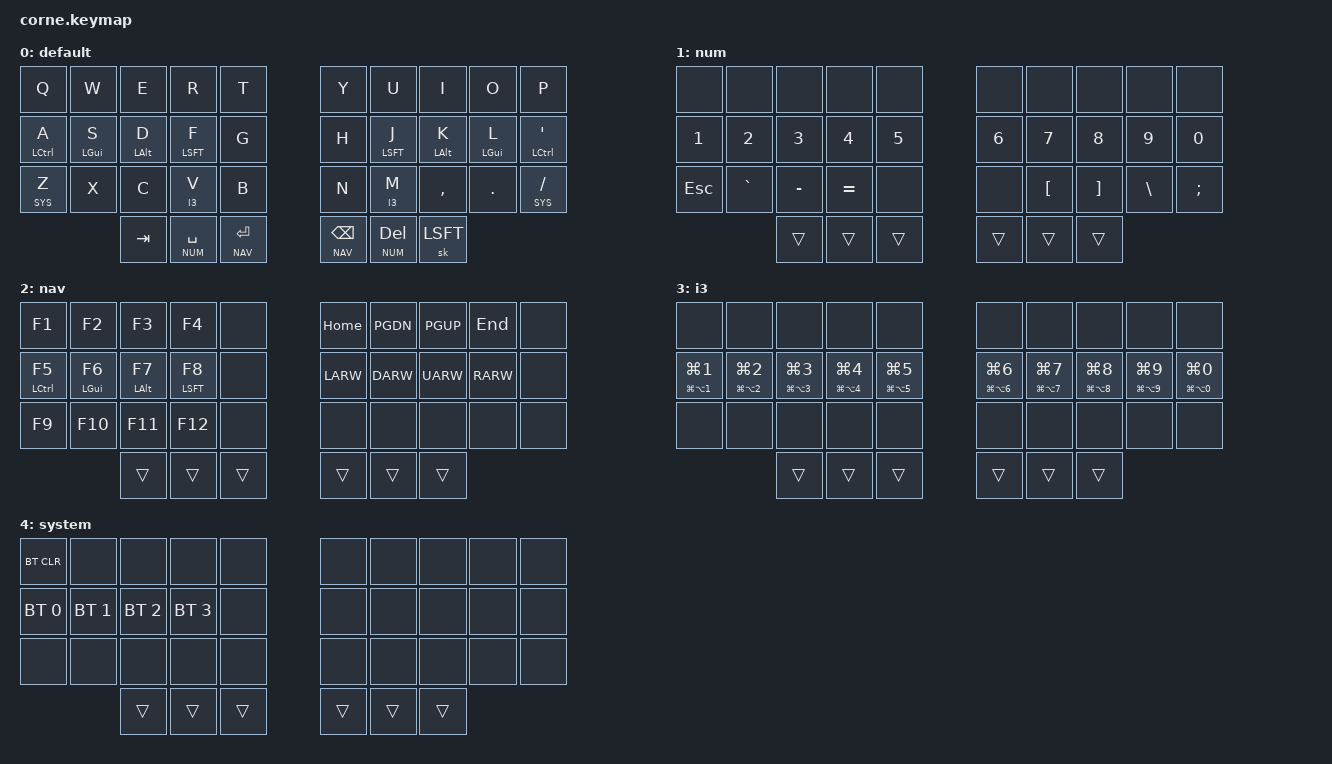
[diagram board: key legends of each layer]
#include <behaviors.dtsi>
#include <dt-bindings/zmk/keys.h>
#include <dt-bindings/zmk/bt.h>

#define DEF 0
#define NAV 1
#define NUM 2
#define I3  3
#define SYS 4

&mt {
    flavor = "tap-preferred";
    tapping-term-ms = <125>;
    quick-tap-ms = <100>;
};

&lt {
    flavor = "tap-preferred";
    tapping-term-ms = <125>;
    quick-tap-ms = <100>;
};

&sk {
    quick-release;
};

/ {
  chosen {
    zmk,matrix_transform = &five_column_transform;
  };
};

#define COMBO(NAME, KEYPOS) \
    combo_##NAME { \
        timeout-ms = <100>; \
        key-positions = <KEYPOS>; \
        bindings = <&kp NAME>; \
    };

/ {
    behaviors {
        i3: behavior_ithree {
			compatible = "zmk,behavior-hold-tap";
			label = "I_THREE";
			flavor = "tap-preferred";
			tapping-term-ms = <500>;
            #binding-cells = <2>;
			bindings = <&kp>, <&kp>;
		};
    };

    combos {
        compatible = "zmk,combos";
        COMBO(NUM_1, 0 10)
        COMBO(NUM_2, 1 11)
        COMBO(NUM_3, 2 12)
        COMBO(NUM_4, 3 13)
        COMBO(NUM_5, 4 14)
        COMBO(NUM_6, 5 15)
        COMBO(NUM_7, 6 16)
        COMBO(NUM_8, 7 17)
        COMBO(NUM_9, 8 18)
        COMBO(NUM_0, 9 19)

        COMBO(ESC, 10 20)
        COMBO(GRAVE, 11 21)
        COMBO(MINUS, 12 22)
        COMBO(EQUAL, 13 23)
        COMBO(LEFT_BRACKET, 16 26)
        COMBO(RIGHT_BRACKET, 17 27)
        COMBO(BACKSLASH, 18 28)
        COMBO(SCLN, 19 29)
    };

    keymap {
        compatible = "zmk,keymap";

        def_layer {
            label = "default";

            bindings = <
    &kp Q       &kp W      &kp E      &kp R      &kp T &kp Y     &kp U      &kp I      &kp O      &kp P   
    &mt LCTL A  &mt LGUI S &mt LALT D &mt LSFT F &kp G &kp H     &mt LSFT J &mt LALT K &mt LGUI L &mt LCTL QUOT
    &lt SYS Z   &kp X      &kp C      &lt I3 V   &kp B &kp N     &lt I3 M   &kp CMMA   &kp DOT    &lt SYS SLASH
                	&kp TAB &lt NUM SPC &lt NAV RET &lt NAV BKSP &lt NUM DEL  &sk LSFT
            >;
        };

        num_layer {
            label = "num";
            bindings = <
    &none &none &none &none &none &none &none &none &none &none 
    &kp NUM_1 &kp NUM_2 &kp NUM_3 &kp NUM_4 &kp NUM_5 &kp NUM_6 &kp NUM_7 &kp NUM_8 &kp NUM_9 &kp NUM_0 
    &kp ESC &kp GRAVE &kp MINUS &kp EQUAL &none &none &kp LEFT_BRACKET &kp RIGHT_BRACKET &kp BACKSLASH  &kp SCLN
                &trans &trans &trans &trans &trans &trans
            >;
        };

        nav_layer {
            label = "nav";
            bindings = <
    &kp F1 &kp F2 &kp F3 &kp F4 &none &kp HOME &kp PGDN &kp PGUP &kp END &none
    &mt LCTL F5 &mt LGUI F6 &mt LALT F7 &mt LSFT F8 &none &kp LARW &kp DARW &kp UARW &kp RARW &none
    &kp F9 &kp F10 &kp F11 &kp F12 &none &none &none &none &none &none
                &trans &trans &trans &trans &trans &trans
            >;
        };

        i3_layer {
            label = "i3";
            bindings = <
    &none &none &none &none &none &none &none &none &none &none 
    &i3 LG(LA(NUM_1)) LG(NUM_1) &i3 LG(LA(NUM_2)) LG(NUM_2) &i3 LG(LA(NUM_3)) LG(NUM_3) &i3 LG(LA(NUM_4)) LG(NUM_4) &i3 LG(LA(NUM_5)) LG(NUM_5) &i3 LG(LA(NUM_6)) LG(NUM_6) &i3 LG(LA(NUM_7)) LG(NUM_7) &i3 LG(LA(NUM_8)) LG(NUM_8) &i3 LG(LA(NUM_9)) LG(NUM_9) &i3 LG(LA(NUM_0)) LG(NUM_0) 
    &none &none &none &none &none &none &none &none &none &none
                &trans &trans &trans &trans &trans &trans
            >;
        };

        sys_layer {
            label = "system";
            bindings = <
    &bt BT_CLR &none &none &none &none &none &none &none &none &none 
    &bt BT_SEL 0 &bt BT_SEL 1 &bt BT_SEL 2 &bt BT_SEL 3 &none &none &none &none &none &none 
    &none &none &none &none &none &none &none &none &none &none 
                &trans &trans &trans &trans &trans &trans
            >;
        };
    };

};
